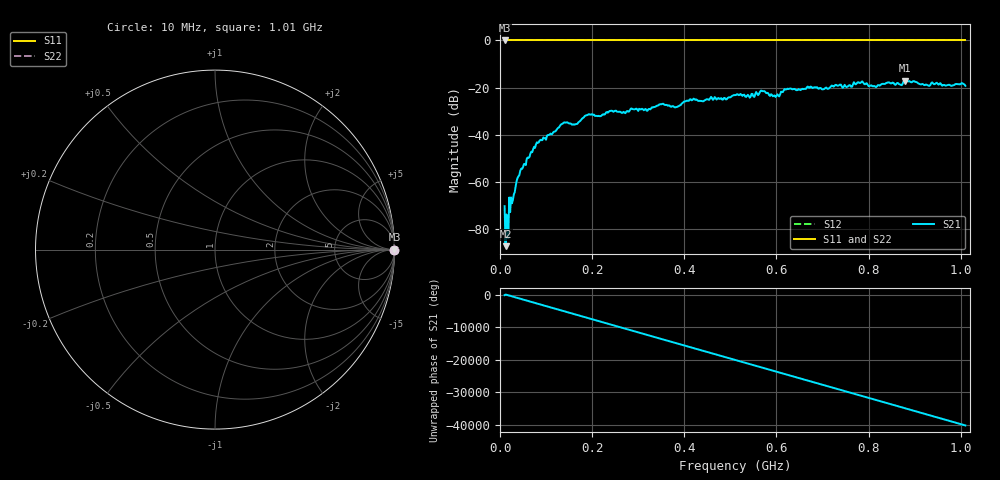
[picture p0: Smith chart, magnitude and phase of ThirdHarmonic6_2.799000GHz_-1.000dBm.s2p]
! 8/17/2025 7:17:07 AM
! C:\ANRITSUVNA\TEMP\TEMP.S2P
! CHANNEL.1
! TR.MEASUREMENT
! RAW.DATA
! RF.CORRECTION.OFF
! AVERAGING.OFF
! IF.BANDWIDTH: 5KHZ
! SWEEPTYPE:  FREQ.SWEEP(Linear)
! Reference Plane Port Info
! PORT:  PORT1  PORT2
! DISTANCE:  0  m  0  m
! TIME:  0  s  0  s
! PHASE.OFFSET:  0  deg.  0  deg.
! LOSS:  0  dB  0  dB
! REF.LOSS:  0  dB  0  dB
! REF.FREQ:  0  Hz  0  Hz
! Power Info
! POWER:  -20  dBm  -20  dBm
! EFF.POWER:  -20  dBm  -20  dBm
! SOURCE.ATTEN:  0  dB  0  dB
! TEST.ATTEN:  0  dB  0  dB
# GHZ S RI R 50.0
! FREQ.GHZ  S11RE  S11IM  S21RE  S21IM  S12RE  S12IM  S22RE  S22IM
!; PortSelection: Port_12
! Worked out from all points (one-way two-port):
!   501 points, 10 MHz to 1.01 GHz, reference 50 ohm
!   highest |S21| = -16.96 dB at 878 MHz (marker M1); lowest = -87.1 dB at 12 MHz (marker M2)
!   lowest |S11| = 0.0 dB at 10 MHz (marker M3)
!   |S11| at or under -10 dB: nowhere
!   |S22| runs from 0.0 to 0.0 dB; largest |S21 - S12| = 1.1
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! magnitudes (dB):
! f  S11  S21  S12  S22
! 10 MHz  0.0  -70.1  0.0  0.0
! 12 MHz  0.0  -87.1  0.0  0.0
! 14 MHz  0.0  -73.6  0.0  0.0
! 16 MHz  0.0  -75.1  0.0  0.0
! 42 MHz  0.0  -57.0  0.0  0.0
! 78 MHz  0.0  -44.0  0.0  0.0
! 136 MHz  0.0  -35.2  0.0  0.0
! 164 MHz  0.0  -35.4  0.0  0.0
! 178 MHz  0.0  -33.1  0.0  0.0
! 190 MHz  0.0  -31.6  0.0  0.0
! 344 MHz  0.0  -27.4  0.0  0.0
! 382 MHz  0.0  -28.2  0.0  0.0
! 416 MHz  0.0  -25.3  0.0  0.0
! 510 MHz  0.0  -23.2  0.0  0.0
! 540 MHz  0.0  -23.5  0.0  0.0
! 570 MHz  0.0  -21.5  0.0  0.0
! 602 MHz  0.0  -22.8  0.0  0.0
! 620 MHz  0.0  -20.8  0.0  0.0
! 678 MHz  0.0  -20.1  0.0  0.0
! 844 MHz  0.0  -17.7  0.0  0.0
! 878 MHz  0.0  -17.0  0.0  0.0
! 1.01 GHz  0.0  -19.2  0.0  0.0
